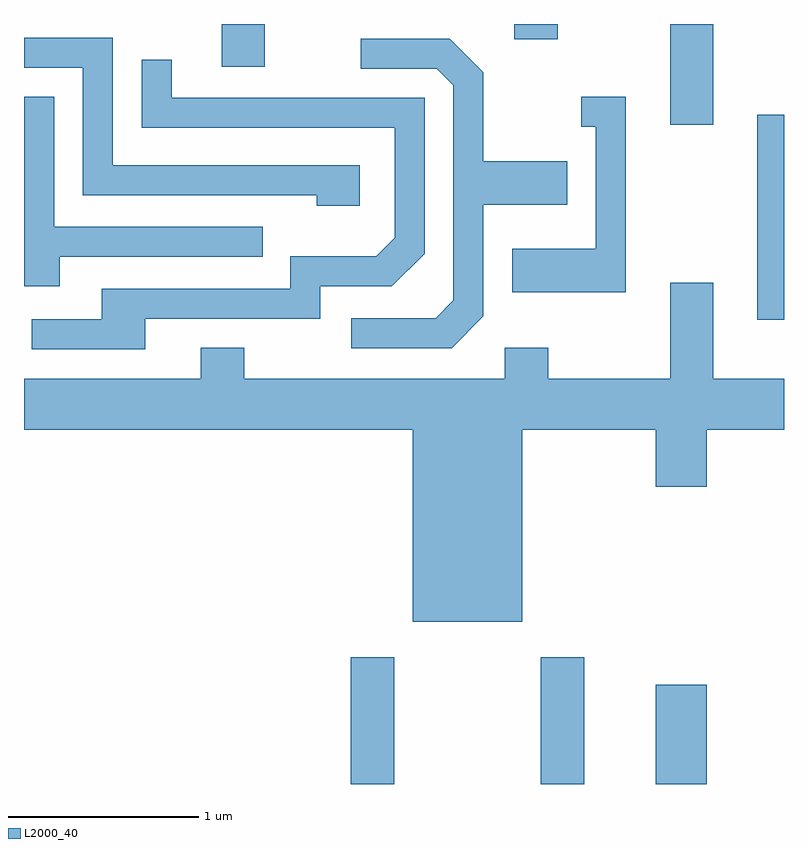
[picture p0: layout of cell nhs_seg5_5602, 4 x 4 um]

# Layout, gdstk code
import gdstk
lib = gdstk.Library(unit=1e-6, precision=1e-09)
def R(c, l, rs):  # rectangles x0, y0, x1, y1
    for r in rs: c.add(gdstk.rectangle(r[:2], r[2:], *l))
def P(c, l, *ps):  # polygons
    for p in ps: c.add(gdstk.Polygon(p, *l))
L2000_40 = (2000, 40)

nhs_seg5_5602 = lib.new_cell('nhs_seg5_5602')
R(nhs_seg5_5602, L2000_40, [(353.331,1426.072,353.559,1426.739), (354.331,1426.072,354.559,1426.739), (354.936,1426.072,355.204,1426.594), (355.471,1428.516,355.611,1429.594), (355.011,1429.541,355.239,1430.072), (352.651,1429.846,352.879,1430.072), (354.191,1429.991,354.419,1430.072)])
P(nhs_seg5_5602, L2000_40, [(353.379,1429.329),(352.079,1429.329),(352.079,1429.999),(351.611,1429.999),(351.611,1429.841),(351.921,1429.841),(351.921,1429.171),(353.151,1429.171),(353.151,1429.116),(353.379,1429.116)],
  [(354.029,1428.534),(354.029,1429.121),(354.469,1429.121),(354.469,1429.349),(354.029,1429.349),(354.029,1429.817),(353.852,1429.994),(353.383,1429.994),(353.383,1429.836),(353.784,1429.836),(353.871,1429.749),(353.871,1428.617),(353.779,1428.524),(353.333,1428.524),(353.333,1428.366),(353.862,1428.366)],
  [(352.249,1428.521),(353.169,1428.521),(353.169,1428.691),(353.547,1428.691),(353.719,1428.864),(353.719,1429.684),(352.389,1429.684),(352.389,1429.883),(352.231,1429.883),(352.231,1429.526),(353.561,1429.526),(353.561,1428.947),(353.464,1428.849),(353.011,1428.849),(353.011,1428.679),(352.021,1428.679),(352.021,1428.519),(351.653,1428.519),(351.653,1428.361),(352.249,1428.361)],
  [(354.779,1429.689),(354.543,1429.689),(354.543,1429.531),(354.621,1429.531),(354.621,1428.889),(354.181,1428.889),(354.181,1428.661),(354.779,1428.661)],
  [(351.799,1428.846),(352.868,1428.846),(352.868,1429.004),(351.769,1429.004),(351.769,1429.689),(351.611,1429.689),(351.611,1428.691),(351.799,1428.691)],
  [(354.234,1427.936),(354.936,1427.936),(354.936,1427.636),(355.204,1427.636),(355.204,1427.936),(355.611,1427.936),(355.611,1428.204),(355.239,1428.204),(355.239,1428.709),(355.011,1428.709),(355.011,1428.204),(354.369,1428.204),(354.369,1428.369),(354.141,1428.369),(354.141,1428.204),(352.769,1428.204),(352.769,1428.369),(352.541,1428.369),(352.541,1428.204),(351.611,1428.204),(351.611,1427.936),(353.656,1427.936),(353.656,1426.926),(354.234,1426.926)])

lib.write_gds('nhs_seg5_5602.gds')
